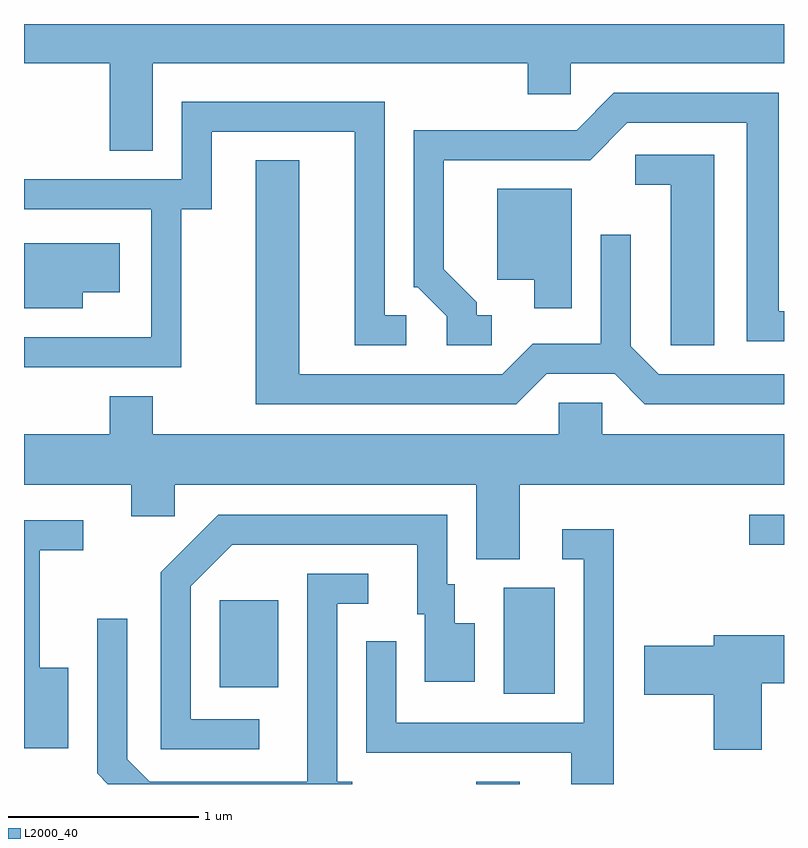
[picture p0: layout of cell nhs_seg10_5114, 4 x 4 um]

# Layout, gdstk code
import gdstk
lib = gdstk.Library(unit=1e-6, precision=1e-09)
def R(c, l, rs):  # rectangles x0, y0, x1, y1
    for r in rs: c.add(gdstk.rectangle(r[:2], r[2:], *l))
def P(c, l, *ps):  # polygons
    for p in ps: c.add(gdstk.Polygon(p, *l))
L2000_40 = (2000, 40)

nhs_seg10_5114 = lib.new_cell('nhs_seg10_5114')
R(nhs_seg10_5114, L2000_40, [(337.991,2154.522,338.219,2154.534), (338.136,2154.996,338.404,2155.554), (336.641,2155.031,336.949,2155.489), (339.428,2155.781,339.611,2155.939)])
P(nhs_seg10_5114, L2000_40, [(336.289,2158.316),(338.261,2158.316),(338.261,2158.151),(338.489,2158.151),(338.489,2158.316),(339.611,2158.316),(339.611,2158.522),(335.611,2158.522),(335.611,2158.316),(336.061,2158.316),(336.061,2157.856),(336.289,2157.856)],
  [(338.073,2156.989),(337.994,2156.989),(337.994,2157.057),(337.819,2157.232),(337.819,2157.806),(338.592,2157.806),(338.787,2158.001),(339.416,2158.001),(339.416,2156.851),(339.611,2156.851),(339.611,2157.009),(339.584,2157.009),(339.584,2158.159),(338.714,2158.159),(338.519,2157.964),(337.661,2157.964),(337.661,2157.136),(337.684,2157.136),(337.836,2156.984),(337.836,2156.831),(338.073,2156.831)],
  [(336.439,2157.546),(336.599,2157.546),(336.599,2157.956),(337.351,2157.956),(337.351,2156.831),(337.623,2156.831),(337.623,2156.989),(337.509,2156.989),(337.509,2158.114),(336.441,2158.114),(336.441,2157.704),(335.611,2157.704),(335.611,2157.546),(336.281,2157.546),(336.281,2156.874),(335.611,2156.874),(335.611,2156.716),(336.439,2156.716)],
  [(339.244,2157.834),(338.828,2157.834),(338.828,2157.676),(339.016,2157.676),(339.016,2156.831),(339.244,2156.831)],
  [(338.362,2156.681),(338.719,2156.681),(338.879,2156.521),(339.611,2156.521),(339.611,2156.679),(338.952,2156.679),(338.804,2156.827),(338.804,2157.413),(338.646,2157.413),(338.646,2156.839),(338.289,2156.839),(338.129,2156.679),(337.059,2156.679),(337.059,2157.804),(336.831,2157.804),(336.831,2156.521),(338.202,2156.521)],
  [(338.494,2157.654),(338.101,2157.654),(338.101,2157.176),(338.296,2157.176),(338.296,2157.026),(338.494,2157.026)],
  [(335.919,2157.111),(336.114,2157.111),(336.114,2157.369),(335.611,2157.369),(335.611,2157.026),(335.919,2157.026)],
  [(338.219,2156.096),(339.611,2156.096),(339.611,2156.364),(338.654,2156.364),(338.654,2156.529),(338.426,2156.529),(338.426,2156.364),(336.289,2156.364),(336.289,2156.564),(336.061,2156.564),(336.061,2156.364),(335.611,2156.364),(335.611,2156.096),(336.176,2156.096),(336.176,2155.931),(336.404,2155.931),(336.404,2156.096),(337.991,2156.096),(337.991,2155.706),(338.219,2155.706)],
  [(336.848,2154.864),(336.489,2154.864),(336.489,2155.564),(336.707,2155.781),(337.681,2155.781),(337.681,2155.416),(337.721,2155.416),(337.721,2155.061),(337.984,2155.061),(337.984,2155.369),(337.879,2155.369),(337.879,2155.574),(337.839,2155.574),(337.839,2155.939),(336.634,2155.939),(336.331,2155.637),(336.331,2154.706),(336.848,2154.706)],
  [(335.844,2155.134),(335.694,2155.134),(335.694,2155.751),(335.923,2155.751),(335.923,2155.909),(335.611,2155.909),(335.611,2154.711),(335.844,2154.711)],
  [(338.714,2155.864),(338.443,2155.864),(338.443,2155.706),(338.556,2155.706),(338.556,2154.844),(337.569,2154.844),(337.569,2155.273),(337.411,2155.273),(337.411,2154.686),(338.491,2154.686),(338.491,2154.522),(338.714,2154.522)],
  [(337.338,2154.534),(337.259,2154.534),(337.259,2155.471),(337.423,2155.471),(337.423,2155.629),(337.101,2155.629),(337.101,2154.534),(336.272,2154.534),(336.154,2154.652),(336.154,2155.393),(335.996,2155.393),(335.996,2154.579),(336.053,2154.522),(337.338,2154.522)],
  [(339.494,2155.051),(339.611,2155.051),(339.611,2155.304),(339.241,2155.304),(339.241,2155.249),(338.876,2155.249),(338.876,2154.991),(339.241,2154.991),(339.241,2154.701),(339.494,2154.701)])

lib.write_gds('nhs_seg10_5114.gds')
